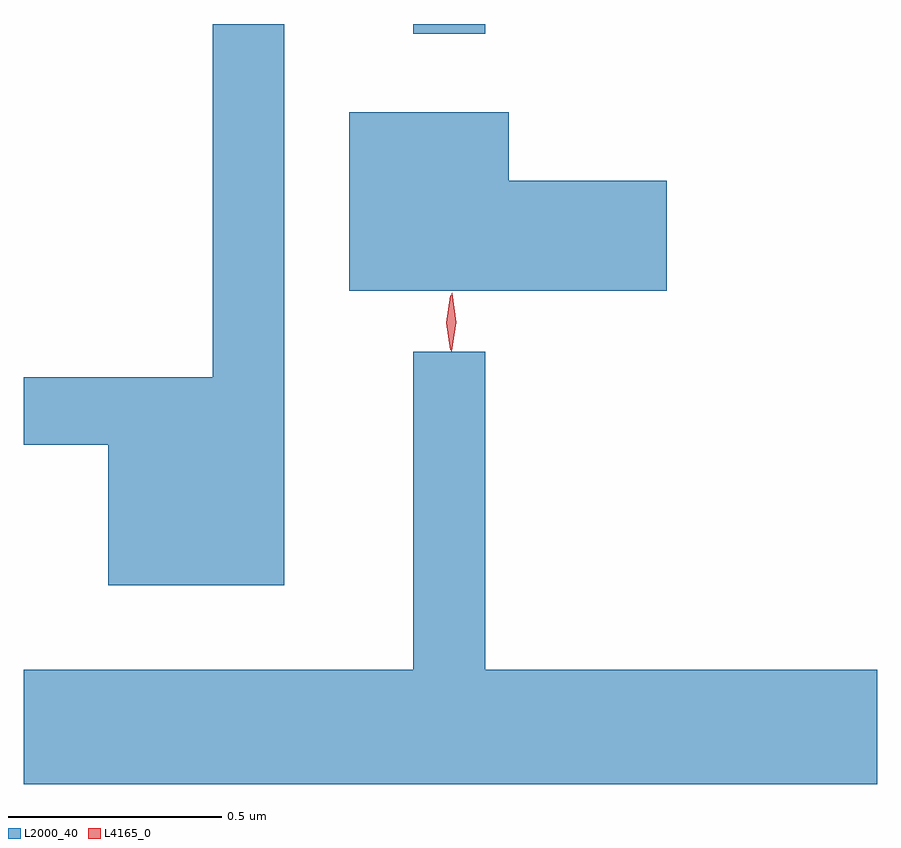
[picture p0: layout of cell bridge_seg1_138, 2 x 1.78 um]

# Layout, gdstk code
import gdstk
lib = gdstk.Library(unit=1e-6, precision=1e-09)
def R(c, l, rs):  # rectangles x0, y0, x1, y1
    for r in rs: c.add(gdstk.rectangle(r[:2], r[2:], *l))
def P(c, l, *ps):  # polygons
    for p in ps: c.add(gdstk.Polygon(p, *l))
L2000_40 = (2000, 40)
L4165_0 = (4165, 0)

bridge_seg1_138 = lib.new_cell('bridge_seg1_138')
R(bridge_seg1_138, L2000_40, [(1429.981,921.313,1430.149,921.336)])
P(bridge_seg1_138, L2000_40, [(1429.679,921.336),(1429.511,921.336),(1429.511,920.509),(1429.068,920.509),(1429.068,920.351),(1429.266,920.351),(1429.266,920.021),(1429.679,920.021)],
  [(1430.574,920.969),(1430.204,920.969),(1430.204,921.129),(1429.831,921.129),(1429.831,920.711),(1430.574,920.711)],
  [(1431.068,919.824),(1430.149,919.824),(1430.149,920.568),(1429.981,920.568),(1429.981,919.824),(1429.068,919.824),(1429.068,919.556),(1431.068,919.556)])
P(bridge_seg1_138, L4165_0, [(1430.07,920.57),(1430.07,920.57),(1430.061,920.638),(1430.071,920.705),(1430.072,920.706),(1430.072,920.705),(1430.081,920.638),(1430.071,920.57)],
  [(1430.067,920.573),(1430.058,920.636),(1430.067,920.7),(1430.068,920.7),(1430.068,920.7),(1430.078,920.636),(1430.068,920.573),(1430.068,920.573)])

lib.write_gds('bridge_seg1_138.gds')
